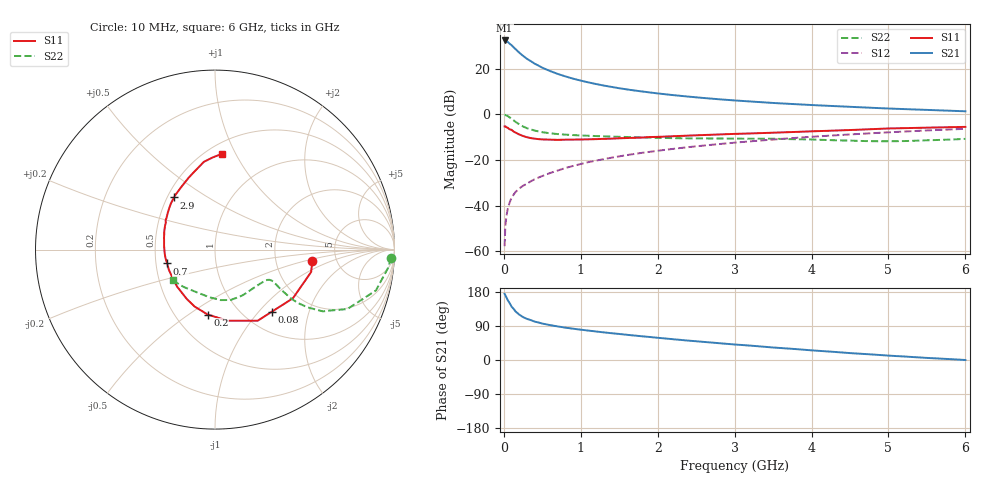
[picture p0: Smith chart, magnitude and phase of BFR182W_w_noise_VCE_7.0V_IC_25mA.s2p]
! Infineon Technologies  Discrete & RF Semiconductors
! BFR182W
! VCE =  7.0 V,  IC =  25 mA
! Common Emitter S-Parameters:  Jan 2017
# GHz  S  MA  R  50
!  f  S11  S21  S12  S22
! GHz  MAG  ANG  MAG  ANG  MAG  ANG  MAG  ANG
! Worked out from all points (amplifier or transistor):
!   77 points, 10 MHz to 6 GHz, reference 50 ohm
!   highest |S21| = 32.4 dB at 10 MHz (marker M1)
!   |S21| within 3 dB of that: start of sweep to 127.9 MHz
!   unconditionally stable (mu >= 1): 739.2 MHz to 2.312 GHz
!   at 130 MHz: K = 0.46, MSG = 32.2 dB, |S12| = -35.0 dB
!   at 2.2 GHz: K = 1.01, MAG = 11.3 dB, |S12| = -15.1 dB
!   at 6 GHz: K = 0.86, MSG = 3.8 dB, |S12| = -6.3 dB
!   lowest NFmin = 1.56 dB at 450 MHz
!   S11 on the Smith chart (normalised r, x): 10 MHz: 3.29, -0.57; 80 MHz: 1.33, -1.18; 200 MHz: 0.71, -0.60; 700 MHz: 0.57, -0.10; 2.9 GHz: 0.54, +0.36; 6 GHz: 0.59, +0.88
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0.01  0.5458 -6.4  41.79 174.6  0.0013 82.8  0.9815 -2.6
0.02  0.55 -13.1  41.73 170.6  0.0037 94.0  0.9706 -5.9
0.05  0.5118 -32.0  38.92 158.1  0.0084 77.1  0.9254 -14.2
0.08  0.469 -47.6  34.96 148.5  0.0123 74.6  0.8518 -19.9
0.1  0.4622 -59.0  32.97 140.9  0.0149 73.7  0.8081 -24.2
0.15  0.4025 -79.9  27.21 128.6  0.0198 67.4  0.6924 -29.8
0.2  0.3642 -96.4  22.64 119.8  0.0238 66.0  0.6069 -32.0
0.25  0.3373 -109.5  19.23 113.2  0.0274 65.6  0.5451 -32.8
0.3  0.317 -119.7  16.56 108.5  0.0304 65.9  0.4991 -32.7
0.4  0.2952 -135.7  12.95 101.3  0.038 68.6  0.4425 -31.5
0.5  0.2836 -147.4  10.58 96.2  0.0448 69.8  0.4085 -30.4
0.6  0.2806 -156.7  8.944 92.1  0.052 70.3  0.3867 -29.5
0.7  0.2774 -163.9  7.727 88.6  0.059 71.7  0.3716 -28.8
0.9  0.2813 -176.4  6.08 82.6  0.0743 71.8  0.3532 -28.8
1.1  0.285 174.8  5.037 77.6  0.0902 72.1  0.3412 -29.6
1.5  0.3002 160.4  3.755 68.7  0.1206 70.8  0.3237 -33.5
2.1  0.3277 144.5  2.769 56.8  0.168 67.4  0.305 -43.5
2.9  0.3695 128.2  2.088 42.6  0.2326 61.8  0.2965 -60.6
3.1  0.3789 124.6  1.977 39.5  0.2489 60.2  0.2948 -64.8
4.1  0.432 108.7  1.579 24.1  0.332 51.6  0.2789 -86.0
5.1  0.4967 96.0  1.33 10.4  0.4138 42.1  0.2594 -116.6
6  0.5341 86.1  1.173 0.0  0.4842 33.0  0.2916 -144.1
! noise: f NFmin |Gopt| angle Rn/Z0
0.45  1.56  0.16  -169  0.15
0.9  1.65  0.17  -163  0.16
1.9  2.18  0.33  -138  0.18
2.4  2.46  0.34  -127  0.29
